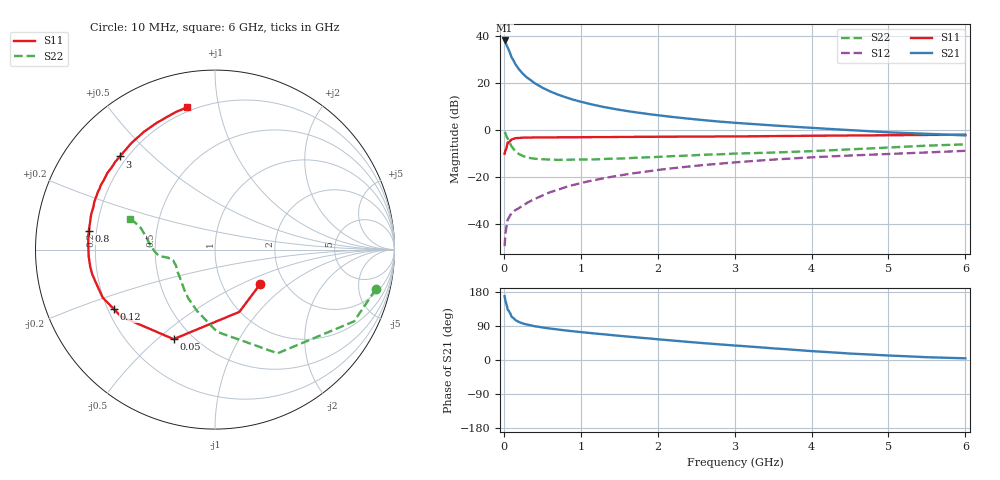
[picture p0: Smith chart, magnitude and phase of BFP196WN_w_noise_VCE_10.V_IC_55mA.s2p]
! Infineon Technologies  Discrete & RF Semiconductors
! BFP196WN
! VCE =  10. V,  IC =  55 mA
! Common Emitter S-Parameters:  Jan 2017
# GHz  S  MA  R  50
!  f  S11  S21  S12  S22
! GHz  MAG  ANG  MAG  ANG  MAG  ANG  MAG  ANG
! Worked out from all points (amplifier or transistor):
!   77 points, 10 MHz to 6 GHz, reference 50 ohm
!   highest |S21| = 38.3 dB at 10 MHz (marker M1)
!   |S21| within 3 dB of that: start of sweep to 49.72 MHz
!   unconditionally stable (mu >= 1): 647.4 MHz to 2.697 GHz
!   at 130 MHz: K = 0.53, MSG = 32.0 dB, |S12| = -34.5 dB
!   at 2.2 GHz: K = 1.02, MAG = 10.0 dB, |S12| = -16.1 dB
!   at 6 GHz: K = 0.90, MSG = 3.3 dB, |S12| = -8.7 dB
!   lowest NFmin = 1.34 dB at 450 MHz
!   S11 on the Smith chart (normalised r, x): 10 MHz: 1.51, -0.64; 50 MHz: 0.40, -0.57; 120 MHz: 0.22, -0.26; 800 MHz: 0.17, +0.07; 3 GHz: 0.17, +0.40; 6 GHz: 0.18, +0.81
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0.01  0.3169 -37.2  82.26 168.5  0.0034 79.5  0.9228 -13.8
0.02  0.3726 -68.6  76.12 157.0  0.006 73.3  0.8718 -27.3
0.05  0.5496 -114.8  58.1 133.2  0.0123 52.8  0.6748 -58.9
0.1  0.6424 -144.5  36.2 114.3  0.0171 48.7  0.4583 -88.5
0.12  0.6539 -149.6  31.92 111.4  0.0183 48.1  0.4132 -94.5
0.15  0.6805 -156.9  25.72 105.3  0.02 47.3  0.3566 -106.2
0.2  0.6879 -164.0  19.68 99.9  0.0221 50.7  0.31 -118.6
0.25  0.6976 -168.6  15.92 96.2  0.0253 53.7  0.2834 -126.9
0.3  0.7017 -172.0  13.36 93.5  0.0282 57.0  0.2639 -134.0
0.4  0.7046 -176.9  10.11 89.1  0.0344 61.1  0.2482 -143.0
0.5  0.7055 179.5  8.108 85.9  0.0407 63.8  0.2425 -149.4
0.6  0.7077 176.5  6.774 83.0  0.048 65.5  0.2383 -154.1
0.7  0.7093 174.0  5.803 80.6  0.054 67.2  0.2349 -157.2
0.8  0.7115 171.5  5.082 78.0  0.0613 68.0  0.2353 -159.2
1.1  0.7154 165.5  3.705 71.7  0.082 68.3  0.2396 -164.4
1.5  0.723 158.7  2.739 63.9  0.1087 66.8  0.2502 -168.4
2.1  0.7304 149.0  2.008 53.0  0.1493 63.7  0.2769 -171.1
3  0.7419 135.6  1.448 38.2  0.2072 57.0  0.3194 -174.7
3.1  0.7434 134.1  1.411 36.9  0.2133 56.1  0.3226 -175.4
4.1  0.7678 119.8  1.105 22.2  0.2707 48.0  0.3665 174.7
5.1  0.7882 109.0  0.894 11.0  0.318 40.6  0.4382 163.2
6  0.8075 101.0  0.778 4.4  0.366 34.5  0.5021 160.3
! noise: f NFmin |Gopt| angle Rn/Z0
0.45  1.34  0.54  -177  0.05
0.9  1.44  0.57  -170  0.06
1.9  2.36  0.69  -147  0.17
2.4  3.11  0.7  -140  0.29
